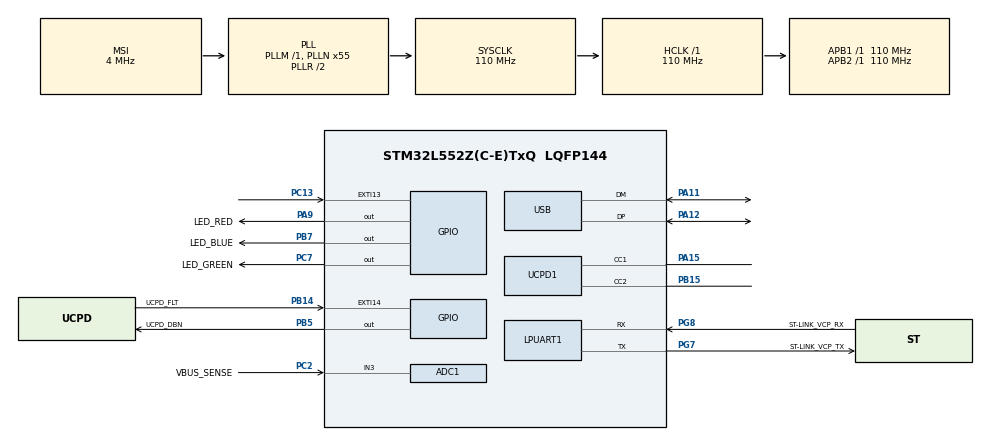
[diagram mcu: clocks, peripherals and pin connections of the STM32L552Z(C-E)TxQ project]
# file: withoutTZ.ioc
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ADC1.Channel-0\#ChannelRegularConversion=ADC_CHANNEL_3
ADC1.NbrOfConversionFlag=1
ADC1.OffsetNumber-0\#ChannelRegularConversion=ADC_OFFSET_NONE
ADC1.Rank-0\#ChannelRegularConversion=1
ADC1.SamplingTime-0\#ChannelRegularConversion=ADC_SAMPLETIME_2CYCLES_5
ADC1.master=1
FREERTOS.Tasks01=defaultTask,24,512,StartDefaultTask,Default,NULL,Dynamic,NULL,NULL;thread1,8,512,StartThread1,Default,NULL,Dynamic,NULL,NULL
Mcu.Family=STM32L5
Mcu.Name=STM32L552Z(C-E)TxQ
Mcu.Package=LQFP144
Mcu.TrustZone=disable
NVIC.EXTI13_IRQn=true\:5\:0\:false\:false\:true\:true\:true\:true
NVIC.PriorityGroup=NVIC_PRIORITYGROUP_3
NVIC.TIM6_IRQn=true\:0\:0\:false\:false\:true\:false\:false\:true
NVIC.TimeBase=TIM6_IRQn
NVIC.TimeBaseIP=TIM6
PA11.Mode=Device
PA11.Signal=USB_DM
PA12.Mode=Device
PA12.Signal=USB_DP
PA13\ (JTMS/SWDIO).Mode=Trace_Asynchronous_SW
PA13\ (JTMS/SWDIO).Signal=DEBUG_JTMS-SWDIO
PA14\ (JTCK/SWCLK).Mode=Trace_Asynchronous_SW
PA14\ (JTCK/SWCLK).Signal=DEBUG_JTCK-SWCLK
PA15\ (JTDI).Mode=Source_AllSignals
PA15\ (JTDI).Signal=UCPD1_CC1
PA9.GPIO_Label=LED_RED
PA9.Signal=GPIO_Output
PB14.GPIO_Label=UCPD_FLT
PB14.Signal=GPXTI14
PB15.Mode=Source_AllSignals
PB15.Signal=UCPD1_CC2
PB3\ (JTDO/TRACESWO).Mode=Trace_Asynchronous_SW
PB3\ (JTDO/TRACESWO).Signal=DEBUG_JTDO-SWO
PB5.GPIO_Label=UCPD_DBN
PB5.Signal=GPIO_Output
PB7.GPIO_Label=LED_BLUE
PB7.Signal=GPIO_Output
PC13.Signal=GPXTI13
PC14-OSC32_IN\ (PC14).Mode=LSE-External-Oscillator
PC14-OSC32_IN\ (PC14).Signal=RCC_OSC32_IN
PC15-OSC32_OUT\ (PC15).Mode=LSE-External-Oscillator
PC15-OSC32_OUT\ (PC15).Signal=RCC_OSC32_OUT
PC2.GPIO_Label=VBUS_SENSE
PC2.Signal=ADCx_IN3
PC7.GPIO_Label=LED_GREEN
PC7.Signal=GPIO_Output
PG7.GPIO_Label=ST-LINK_VCP_TX
PG7.Mode=Asynchronous
PG7.Signal=LPUART1_TX
PG8.GPIO_Label=ST-LINK_VCP_RX
PG8.Mode=Asynchronous
PG8.Signal=LPUART1_RX
ProjectManager.HeapSize=0x200
ProjectManager.StackSize=0x400
ProjectManager.TargetToolchain=STM32CubeIDE
RCC.ADCCLockSelection=RCC_ADCCLKSOURCE_SYSCLK
RCC.ADCFreq_Value=110000000
RCC.AHBFreq_Value=110000000
RCC.APB1Freq_Value=110000000
RCC.APB1TimFreq_Value=110000000
RCC.APB2Freq_Value=110000000
RCC.APB2TimFreq_Value=110000000
RCC.CK48CLockSelection=RCC_USBCLKSOURCE_HSI48
RCC.CortexFreq_Value=110000000
RCC.HCLKFreq_Value=110000000
RCC.HSE_VALUE=8000000
RCC.HSI48_VALUE=48000000
RCC.HSI_VALUE=16000000
RCC.MSI_VALUE=4000000
RCC.PLLN=55
RCC.PLLSAI1N=24
RCC.RTCClockSelection=RCC_RTCCLKSOURCE_LSE
RCC.SYSCLKFreq_VALUE=110000000
RCC.SYSCLKSource=RCC_SYSCLKSOURCE_PLLCLK
RCC.USBFreq_Value=48000000
RCC.VCOOutputFreq_Value=220000000
SH.ADCx_IN3.0=ADC1_IN3,IN3-Single-Ended
VP_FREERTOS_VS_CMSIS_V2.Mode=CMSIS_V2
VP_PWR_VS_DBSignals.Mode=DisableDeadBatterySignals
VP_RTC_VS_RTC_Activate.Mode=RTC_Enabled
VP_SYS_VS_tim6.Mode=TIM6
board=NUCLEO-L552ZE-Q

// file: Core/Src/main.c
/* USER CODE BEGIN Header */
/**
  ******************************************************************************
  * @file           : main.c
  * @brief          : Main program body
  ******************************************************************************
  * @attention
  *
  * <h2><center>&copy; Copyright (c) 2021 STMicroelectronics.
  * All rights reserved.</center></h2>
  *
  * This software component is licensed by ST under BSD 3-Clause license,
  * the "License"; You may not use this file except in compliance with the
  * License. You may obtain a copy of the License at:
  *                        opensource.org/licenses/BSD-3-Clause
  *
  ******************************************************************************
  */
/* USER CODE END Header */
#include "main.h"
#include "cmsis_os.h"

/* USER CODE BEGIN Includes */
#include "secure_nsc.h"
#include "thread1.h"
/* USER CODE END Includes */

ADC_HandleTypeDef hadc1;

UART_HandleTypeDef hlpuart1;

RTC_HandleTypeDef hrtc;

PCD_HandleTypeDef hpcd_USB_FS;

/* Definitions for defaultTask */
osThreadId_t defaultTaskHandle;
const osThreadAttr_t defaultTask_attributes = {
  .name = "defaultTask",
  .priority = (osPriority_t) osPriorityNormal,
  .stack_size = 512
};
/* Definitions for thread1 */
osThreadId_t thread1Handle;
const osThreadAttr_t thread1_attributes = {
  .name = "thread1",
  .priority = (osPriority_t) osPriorityLow,
  .stack_size = 512
};

void SystemClock_Config(void);
static void MX_GPIO_Init(void);
static void MX_ADC1_Init(void);
static void MX_LPUART1_UART_Init(void);
static void MX_RTC_Init(void);
static void MX_UCPD1_Init(void);
static void MX_USB_PCD_Init(void);
void StartDefaultTask(void *argument);
void StartThread1(void *argument);

int main(void)
{

  /* MCU Configuration--------------------------------------------------------*/

  /* Reset of all peripherals, Initializes the Flash interface and the Systick. */
  HAL_Init();

  /* Configure the system clock */
  SystemClock_Config();

  /* Initialize all configured peripherals */
  MX_GPIO_Init();
  MX_ADC1_Init();
  MX_LPUART1_UART_Init();
  MX_RTC_Init();
  MX_UCPD1_Init();
  MX_USB_PCD_Init();
  /* USER CODE BEGIN 2 */
  initLEDController_default();
  /* USER CODE END 2 */

  /* Init scheduler */
  osKernelInitialize();

  /* Create the thread(s) */
  /* creation of defaultTask */
  defaultTaskHandle = osThreadNew(StartDefaultTask, NULL, &defaultTask_attributes);

  /* creation of thread1 */
  thread1Handle = osThreadNew(StartThread1, NULL, &thread1_attributes);

  /* Start scheduler */
  osKernelStart();

  /* We should never get here as control is now taken by the scheduler */
  /* Infinite loop */
  while (1)
  {

  }
}

void SystemClock_Config(void)
{
  RCC_OscInitTypeDef RCC_OscInitStruct = {0};
  RCC_ClkInitTypeDef RCC_ClkInitStruct = {0};

  /** Configure the main internal regulator output voltage
  */
  if (HAL_PWREx_ControlVoltageScaling(PWR_REGULATOR_VOLTAGE_SCALE0) != HAL_OK)
  {
    Error_Handler();
  }
  /** Configure LSE Drive Capability
  */
  HAL_PWR_EnableBkUpAccess();
  __HAL_RCC_LSEDRIVE_CONFIG(RCC_LSEDRIVE_LOW);
  /** Initializes the RCC Oscillators according to the specified parameters
  * in the RCC_OscInitTypeDef structure.
  */
  RCC_OscInitStruct.OscillatorType = RCC_OSCILLATORTYPE_HSI48|RCC_OSCILLATORTYPE_LSE
                              |RCC_OSCILLATORTYPE_MSI;
  RCC_OscInitStruct.LSEState = RCC_LSE_ON;
  RCC_OscInitStruct.HSI48State = RCC_HSI48_ON;
  RCC_OscInitStruct.MSIState = RCC_MSI_ON;
  RCC_OscInitStruct.MSICalibrationValue = RCC_MSICALIBRATION_DEFAULT;
  RCC_OscInitStruct.MSIClockRange = RCC_MSIRANGE_6;
  RCC_OscInitStruct.PLL.PLLState = RCC_PLL_ON;
  RCC_OscInitStruct.PLL.PLLSource = RCC_PLLSOURCE_MSI;
  RCC_OscInitStruct.PLL.PLLM = 1;
  RCC_OscInitStruct.PLL.PLLN = 55;
  RCC_OscInitStruct.PLL.PLLP = RCC_PLLP_DIV7;
  RCC_OscInitStruct.PLL.PLLQ = RCC_PLLQ_DIV2;
  RCC_OscInitStruct.PLL.PLLR = RCC_PLLR_DIV2;
  if (HAL_RCC_OscConfig(&RCC_OscInitStruct) != HAL_OK)
  {
    Error_Handler();
  }
  /** Initializes the CPU, AHB and APB buses clocks
  */
  RCC_ClkInitStruct.ClockType = RCC_CLOCKTYPE_HCLK|RCC_CLOCKTYPE_SYSCLK
                              |RCC_CLOCKTYPE_PCLK1|RCC_CLOCKTYPE_PCLK2;
  RCC_ClkInitStruct.SYSCLKSource = RCC_SYSCLKSOURCE_PLLCLK;
  RCC_ClkInitStruct.AHBCLKDivider = RCC_SYSCLK_DIV1;
  RCC_ClkInitStruct.APB1CLKDivider = RCC_HCLK_DIV1;
  RCC_ClkInitStruct.APB2CLKDivider = RCC_HCLK_DIV1;

  if (HAL_RCC_ClockConfig(&RCC_ClkInitStruct, FLASH_LATENCY_5) != HAL_OK)
  {
    Error_Handler();
  }
}

static void MX_ADC1_Init(void)
{

  ADC_MultiModeTypeDef multimode = {0};
  ADC_ChannelConfTypeDef sConfig = {0};

  /** Common config
  */
  hadc1.Instance = ADC1;
  hadc1.Init.ClockPrescaler = ADC_CLOCK_ASYNC_DIV1;
  hadc1.Init.Resolution = ADC_RESOLUTION_12B;
  hadc1.Init.DataAlign = ADC_DATAALIGN_RIGHT;
  hadc1.Init.ScanConvMode = ADC_SCAN_DISABLE;
  hadc1.Init.EOCSelection = ADC_EOC_SINGLE_CONV;
  hadc1.Init.LowPowerAutoWait = DISABLE;
  hadc1.Init.ContinuousConvMode = DISABLE;
  hadc1.Init.NbrOfConversion = 1;
  hadc1.Init.DiscontinuousConvMode = DISABLE;
  hadc1.Init.ExternalTrigConv = ADC_SOFTWARE_START;
  hadc1.Init.ExternalTrigConvEdge = ADC_EXTERNALTRIGCONVEDGE_NONE;
  hadc1.Init.DMAContinuousRequests = DISABLE;
  hadc1.Init.Overrun = ADC_OVR_DATA_PRESERVED;
  hadc1.Init.OversamplingMode = DISABLE;
  if (HAL_ADC_Init(&hadc1) != HAL_OK)
  {
    Error_Handler();
  }
  /** Configure the ADC multi-mode
  */
  multimode.Mode = ADC_MODE_INDEPENDENT;
  if (HAL_ADCEx_MultiModeConfigChannel(&hadc1, &multimode) != HAL_OK)
  {
    Error_Handler();
  }
  /** Configure Regular Channel
  */
  sConfig.Channel = ADC_CHANNEL_3;
  sConfig.Rank = ADC_REGULAR_RANK_1;
  sConfig.SamplingTime = ADC_SAMPLETIME_2CYCLES_5;
  sConfig.SingleDiff = ADC_SINGLE_ENDED;
  sConfig.OffsetNumber = ADC_OFFSET_NONE;
  sConfig.Offset = 0;
  if (HAL_ADC_ConfigChannel(&hadc1, &sConfig) != HAL_OK)
  {
    Error_Handler();
  }

}

static void MX_LPUART1_UART_Init(void)
{

  hlpuart1.Instance = LPUART1;
  hlpuart1.Init.BaudRate = 209700;
  hlpuart1.Init.WordLength = UART_WORDLENGTH_8B;
  hlpuart1.Init.StopBits = UART_STOPBITS_1;
  hlpuart1.Init.Parity = UART_PARITY_NONE;
  hlpuart1.Init.Mode = UART_MODE_TX_RX;
  hlpuart1.Init.HwFlowCtl = UART_HWCONTROL_NONE;
  hlpuart1.Init.OneBitSampling = UART_ONE_BIT_SAMPLE_DISABLE;
  hlpuart1.Init.ClockPrescaler = UART_PRESCALER_DIV1;
  hlpuart1.AdvancedInit.AdvFeatureInit = UART_ADVFEATURE_NO_INIT;
  hlpuart1.FifoMode = UART_FIFOMODE_DISABLE;
  if (HAL_UART_Init(&hlpuart1) != HAL_OK)
  {
    Error_Handler();
  }
  if (HAL_UARTEx_SetTxFifoThreshold(&hlpuart1, UART_TXFIFO_THRESHOLD_1_8) != HAL_OK)
  {
    Error_Handler();
  }
  if (HAL_UARTEx_SetRxFifoThreshold(&hlpuart1, UART_RXFIFO_THRESHOLD_1_8) != HAL_OK)
  {
    Error_Handler();
  }
  if (HAL_UARTEx_DisableFifoMode(&hlpuart1) != HAL_OK)
  {
    Error_Handler();
  }

}

static void MX_RTC_Init(void)
{

  RTC_PrivilegeStateTypeDef privilegeState = {0};

  /** Initialize RTC Only
  */
  hrtc.Instance = RTC;
  hrtc.Init.HourFormat = RTC_HOURFORMAT_24;
  hrtc.Init.AsynchPrediv = 127;
  hrtc.Init.SynchPrediv = 255;
  hrtc.Init.OutPut = RTC_OUTPUT_DISABLE;
  hrtc.Init.OutPutRemap = RTC_OUTPUT_REMAP_NONE;
  hrtc.Init.OutPutPolarity = RTC_OUTPUT_POLARITY_HIGH;
  hrtc.Init.OutPutType = RTC_OUTPUT_TYPE_OPENDRAIN;
  hrtc.Init.OutPutPullUp = RTC_OUTPUT_PULLUP_NONE;
  if (HAL_RTC_Init(&hrtc) != HAL_OK)
  {
    Error_Handler();
  }
  privilegeState.rtcPrivilegeFull = RTC_PRIVILEGE_FULL_NO;
  privilegeState.backupRegisterPrivZone = RTC_PRIVILEGE_BKUP_ZONE_NONE;
  privilegeState.backupRegisterStartZone2 = RTC_BKP_DR0;
  privilegeState.backupRegisterStartZone3 = RTC_BKP_DR0;
  if (HAL_RTCEx_PrivilegeModeSet(&hrtc, &privilegeState) != HAL_OK)
  {
    Error_Handler();
  }

}

static void MX_UCPD1_Init(void)
{

  LL_GPIO_InitTypeDef GPIO_InitStruct = {0};

  /* Peripheral clock enable */
  LL_APB1_GRP2_EnableClock(LL_APB1_GRP2_PERIPH_UCPD1);

  LL_AHB2_GRP1_EnableClock(LL_AHB2_GRP1_PERIPH_GPIOB);
  LL_AHB2_GRP1_EnableClock(LL_AHB2_GRP1_PERIPH_GPIOA);
  /**UCPD1 GPIO Configuration
  PB15   ------> UCPD1_CC2
  PA15 (JTDI)   ------> UCPD1_CC1
  */
  GPIO_InitStruct.Pin = LL_GPIO_PIN_15;
  GPIO_InitStruct.Mode = LL_GPIO_MODE_ANALOG;
  GPIO_InitStruct.Pull = LL_GPIO_PULL_NO;
  LL_GPIO_Init(GPIOB, &GPIO_InitStruct);

  GPIO_InitStruct.Pin = LL_GPIO_PIN_15;
  GPIO_InitStruct.Mode = LL_GPIO_MODE_ANALOG;
  GPIO_InitStruct.Pull = LL_GPIO_PULL_NO;
  LL_GPIO_Init(GPIOA, &GPIO_InitStruct);

}

static void MX_USB_PCD_Init(void)
{

  hpcd_USB_FS.Instance = USB;
  hpcd_USB_FS.Init.dev_endpoints = 8;
  hpcd_USB_FS.Init.speed = PCD_SPEED_FULL;
  hpcd_USB_FS.Init.phy_itface = PCD_PHY_EMBEDDED;
  hpcd_USB_FS.Init.Sof_enable = DISABLE;
  hpcd_USB_FS.Init.low_power_enable = DISABLE;
  hpcd_USB_FS.Init.lpm_enable = DISABLE;
  hpcd_USB_FS.Init.battery_charging_enable = DISABLE;
  if (HAL_PCD_Init(&hpcd_USB_FS) != HAL_OK)
  {
    Error_Handler();
  }

}

static void MX_GPIO_Init(void)
{
  GPIO_InitTypeDef GPIO_InitStruct = {0};

  /* GPIO Ports Clock Enable */
  __HAL_RCC_GPIOC_CLK_ENABLE();
  __HAL_RCC_GPIOB_CLK_ENABLE();
  __HAL_RCC_GPIOG_CLK_ENABLE();
  HAL_PWREx_EnableVddIO2();
  __HAL_RCC_GPIOA_CLK_ENABLE();

  /*Configure GPIO pin Output Level */
  HAL_GPIO_WritePin(LED_GREEN_GPIO_Port, LED_GREEN_Pin, GPIO_PIN_RESET);

  /*Configure GPIO pin Output Level */
  HAL_GPIO_WritePin(LED_RED_GPIO_Port, LED_RED_Pin, GPIO_PIN_RESET);

  /*Configure GPIO pin Output Level */
  HAL_GPIO_WritePin(GPIOB, UCPD_DBN_Pin|LED_BLUE_Pin, GPIO_PIN_RESET);

  /*Configure GPIO pin : PC13 */
  GPIO_InitStruct.Pin = GPIO_PIN_13;
  GPIO_InitStruct.Mode = GPIO_MODE_IT_RISING;
  GPIO_InitStruct.Pull = GPIO_NOPULL;
  HAL_GPIO_Init(GPIOC, &GPIO_InitStruct);

  /*Configure GPIO pin : UCPD_FLT_Pin */
  GPIO_InitStruct.Pin = UCPD_FLT_Pin;
  GPIO_InitStruct.Mode = GPIO_MODE_IT_RISING;
  GPIO_InitStruct.Pull = GPIO_NOPULL;
  HAL_GPIO_Init(UCPD_FLT_GPIO_Port, &GPIO_InitStruct);

  /*Configure GPIO pin : LED_GREEN_Pin */
  GPIO_InitStruct.Pin = LED_GREEN_Pin;
  GPIO_InitStruct.Mode = GPIO_MODE_OUTPUT_PP;
  GPIO_InitStruct.Pull = GPIO_NOPULL;
  GPIO_InitStruct.Speed = GPIO_SPEED_FREQ_LOW;
  HAL_GPIO_Init(LED_GREEN_GPIO_Port, &GPIO_InitStruct);

  /*Configure GPIO pin : LED_RED_Pin */
  GPIO_InitStruct.Pin = LED_RED_Pin;
  GPIO_InitStruct.Mode = GPIO_MODE_OUTPUT_PP;
  GPIO_InitStruct.Pull = GPIO_NOPULL;
  GPIO_InitStruct.Speed = GPIO_SPEED_FREQ_LOW;
  HAL_GPIO_Init(LED_RED_GPIO_Port, &GPIO_InitStruct);

  /*Configure GPIO pins : UCPD_DBN_Pin LED_BLUE_Pin */
  GPIO_InitStruct.Pin = UCPD_DBN_Pin|LED_BLUE_Pin;
  GPIO_InitStruct.Mode = GPIO_MODE_OUTPUT_PP;
  GPIO_InitStruct.Pull = GPIO_NOPULL;
  GPIO_InitStruct.Speed = GPIO_SPEED_FREQ_LOW;
  HAL_GPIO_Init(GPIOB, &GPIO_InitStruct);

  /* EXTI interrupt init*/
  HAL_NVIC_SetPriority(EXTI13_IRQn, 5, 0);
  HAL_NVIC_EnableIRQ(EXTI13_IRQn);

}

/* USER CODE BEGIN 4 */
void StartAttackTask(void* argument){
	while(1){
		BSP_LED_Toggle(LED3);
		osDelay(1000);
	}
}

void create_attack(void){
	osThreadId_t attackTaskHandle;
	const osThreadAttr_t attackTask_attributes = {
	  .name = "attackTask",
	  .priority = (osPriority_t) osPriorityNormal,
	  .stack_size = 512
	};

	attackTaskHandle = osThreadNew(StartAttackTask, NULL, &attackTask_attributes);
}
/* USER CODE END 4 */

void StartDefaultTask(void *argument)
{
  /* USER CODE BEGIN 5 */
  /* Infinite loop */
  for(;;)
  {
		SECURE_LEDS_setBlue(255);
	    osDelay(1000);
	    SECURE_LEDS_setBlue(55);
	    osDelay(1000);
  }
  /* USER CODE END 5 */
}

void StartThread1(void *argument)
{
  /* USER CODE BEGIN StartThread1 */
  /* Infinite loop */
  for(;;)
  {
	  runThread1();
  }
  /* USER CODE END StartThread1 */
}

 /**
  * @brief  Period elapsed callback in non blocking mode
  * @note   This function is called  when TIM6 interrupt took place, inside
  * HAL_TIM_IRQHandler(). It makes a direct call to HAL_IncTick() to increment
  * a global variable "uwTick" used as application time base.
  * @param  htim : TIM handle
  * @retval None
  */
void HAL_TIM_PeriodElapsedCallback(TIM_HandleTypeDef *htim)
{
  if (htim->Instance == TIM6) {
    HAL_IncTick();
  }
}

void Error_Handler(void)
{
  __disable_irq();
  while (1)
  {
  }
}

/************************ (C) COPYRIGHT STMicroelectronics *****END OF FILE****/
